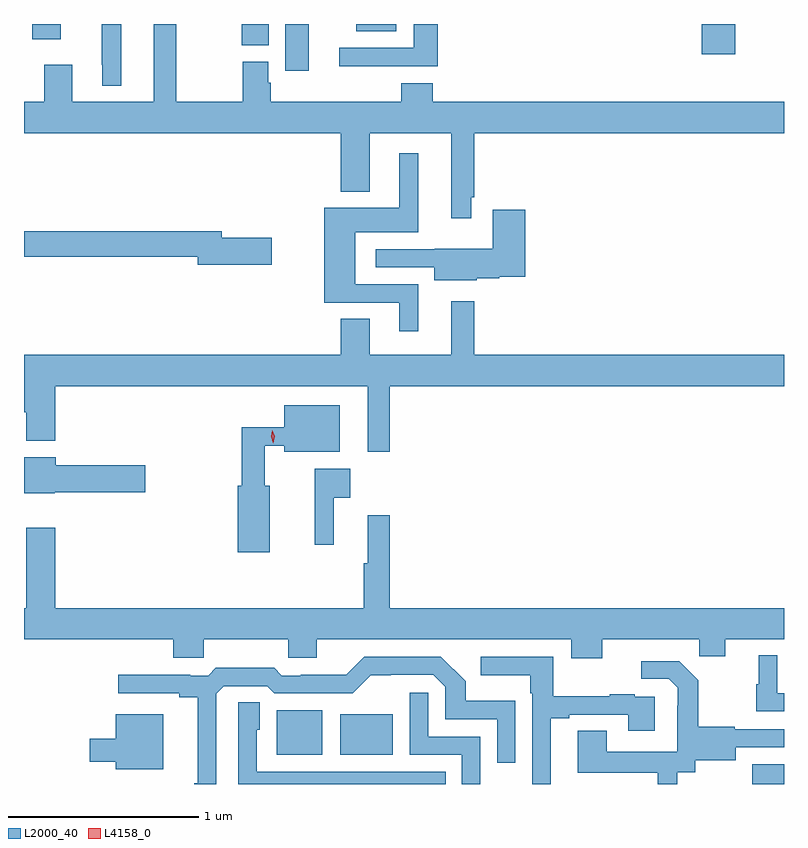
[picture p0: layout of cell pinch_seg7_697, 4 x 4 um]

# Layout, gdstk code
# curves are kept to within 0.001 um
import gdstk
lib = gdstk.Library(unit=1e-6, precision=1e-09)
def R(c, l, rs):  # rectangles x0, y0, x1, y1
    for r in rs: c.add(gdstk.rectangle(r[:2], r[2:], *l))
def P(c, l, *ps):  # polygons
    for p in ps: c.add(gdstk.Polygon(p, *l))
L2000_40 = (2000, 40)
L4158_0 = (4158, 0)

pinch_seg7_697 = lib.new_cell('pinch_seg7_697')
R(pinch_seg7_697, L2000_40, [(331.212,1017.17,331.378,1017.273), (328.709,1017.323,328.948,1017.559), (329.042,1017.323,329.32,1017.538), (328.754,1020.924,328.876,1021.17), (330.944,1021.011,331.122,1021.17), (328.525,1021.057,328.666,1021.17), (327.422,1021.089,327.571,1021.17), (329.126,1021.133,329.338,1021.17)])
P(pinch_seg7_697, L2000_40, [(329.731,1020.259),(329.749,1020.259),(329.749,1020.596),(331.378,1020.596),(331.378,1020.76),(329.528,1020.76),(329.528,1020.859),(329.363,1020.859),(329.363,1020.76),(328.676,1020.76),(328.676,1020.861),(328.663,1020.861),(328.663,1020.972),(328.528,1020.972),(328.528,1020.76),(328.179,1020.76),(328.179,1021.17),(328.061,1021.17),(328.061,1020.76),(327.631,1020.76),(327.631,1020.955),(327.484,1020.955),(327.484,1020.76),(327.378,1020.76),(327.378,1020.596),(329.045,1020.596),(329.045,1020.287),(329.197,1020.287),(329.197,1020.596),(329.627,1020.596),(329.627,1020.147),(329.731,1020.147)],
  [(329.555,1021.17),(329.429,1021.17),(329.429,1021.044),(329.037,1021.044),(329.037,1020.947),(329.555,1020.947)],
  [(327.889,1021.17),(327.787,1021.17),(327.787,1020.955),(327.791,1020.955),(327.791,1020.845),(327.889,1020.845)],
  [(329.452,1019.799),(329.122,1019.799),(329.122,1020.074),(329.452,1020.074),(329.452,1020.49),(329.354,1020.49),(329.354,1020.202),(328.958,1020.202),(328.958,1019.703),(329.354,1019.703),(329.354,1019.553),(329.452,1019.553)],
  [(329.76,1019.833),(329.88,1019.833),(329.88,1019.84),(330.017,1019.84),(330.017,1020.193),(329.846,1020.193),(329.846,1019.986),(329.541,1019.986),(329.541,1019.985),(329.229,1019.985),(329.229,1019.889),(329.537,1019.889),(329.537,1019.822),(329.76,1019.822)],
  [(328.681,1020.044),(328.42,1020.044),(328.42,1020.08),(327.378,1020.08),(327.378,1019.944),(328.292,1019.944),(328.292,1019.902),(328.681,1019.902)],
  [(329.627,1019.71),(329.627,1019.428),(329.197,1019.428),(329.197,1019.618),(329.045,1019.618),(329.045,1019.428),(327.378,1019.428),(327.378,1019.126),(327.389,1019.126),(327.389,1018.976),(327.542,1018.976),(327.542,1019.264),(329.186,1019.264),(329.186,1018.92),(329.303,1018.92),(329.303,1019.264),(331.378,1019.264),(331.378,1019.428),(329.749,1019.428),(329.749,1019.71)],
  [(328.672,1018.741),(328.646,1018.741),(328.646,1018.949),(328.748,1018.949),(328.748,1018.919),(329.041,1018.919),(329.041,1019.164),(328.748,1019.164),(328.748,1019.048),(328.525,1019.048),(328.525,1018.741),(328.502,1018.741),(328.502,1018.389),(328.672,1018.389)],
  [(327.54,1018.706),(328.015,1018.706),(328.015,1018.848),(327.544,1018.848),(327.544,1018.891),(327.378,1018.891),(327.378,1018.7),(327.54,1018.7)],
  [(329.009,1018.676),(329.095,1018.676),(329.095,1018.828),(328.909,1018.828),(328.909,1018.428),(329.009,1018.428)],
  [(330.421,1017.932),(330.931,1017.932),(330.931,1017.842),(331.069,1017.842),(331.069,1017.932),(331.378,1017.932),(331.378,1018.096),(329.303,1018.096),(329.303,1018.585),(329.186,1018.585),(329.186,1018.332),(329.167,1018.332),(329.167,1018.096),(327.542,1018.096),(327.542,1018.519),(327.389,1018.519),(327.389,1018.096),(327.378,1018.096),(327.378,1017.932),(328.163,1017.932),(328.163,1017.834),(328.323,1017.834),(328.323,1017.932),(328.768,1017.932),(328.768,1017.834),(328.918,1017.834),(328.918,1017.932),(330.257,1017.932),(330.257,1017.833),(330.421,1017.833)],
  [(331.378,1017.648),(331.342,1017.648),(331.342,1017.847),(331.244,1017.847),(331.244,1017.696),(331.233,1017.696),(331.233,1017.552),(331.378,1017.552)],
  [(328.389,1017.645),(328.428,1017.684),(328.659,1017.684),(328.695,1017.648),(329.109,1017.648),(329.204,1017.743),(329.532,1017.744),(329.595,1017.681),(329.595,1017.51),(329.868,1017.51),(329.868,1017.282),(329.964,1017.282),(329.964,1017.607),(329.703,1017.607),(329.703,1017.71),(329.572,1017.84),(329.169,1017.84),(329.075,1017.746),(328.834,1017.746),(328.834,1017.741),(328.734,1017.741),(328.695,1017.781),(328.387,1017.781),(328.347,1017.741),(328.253,1017.741),(328.253,1017.746),(327.873,1017.746),(327.873,1017.648),(328.196,1017.648),(328.196,1017.626),(328.292,1017.626),(328.292,1017.175),(328.273,1017.175),(328.273,1017.17),(328.389,1017.17)],
  [(330.151,1017.516),(330.247,1017.516),(330.247,1017.534),(330.557,1017.534),(330.557,1017.45),(330.697,1017.45),(330.697,1017.63),(330.593,1017.63),(330.593,1017.643),(330.461,1017.643),(330.461,1017.632),(330.163,1017.632),(330.163,1017.84),(329.781,1017.84),(329.781,1017.743),(330.042,1017.743),(330.042,1017.647),(330.054,1017.647),(330.054,1017.17),(330.151,1017.17)],
  [(330.817,1017.232),(330.912,1017.232),(330.912,1017.296),(331.123,1017.296),(331.123,1017.363),(331.378,1017.363),(331.378,1017.459),(331.119,1017.459),(331.119,1017.472),(330.927,1017.472),(330.927,1017.717),(330.827,1017.817),(330.627,1017.817),(330.627,1017.723),(330.771,1017.723),(330.818,1017.676),(330.818,1017.581),(330.816,1017.581),(330.816,1017.34),(330.445,1017.34),(330.445,1017.449),(330.293,1017.449),(330.293,1017.23),(330.713,1017.23),(330.713,1017.17),(330.817,1017.17)],
  [(329.778,1017.42),(329.505,1017.42),(329.505,1017.649),(329.409,1017.649),(329.409,1017.324),(329.682,1017.324),(329.682,1017.17),(329.778,1017.17)],
  [(329.597,1017.234),(328.602,1017.234),(328.602,1017.456),(328.618,1017.456),(328.618,1017.599),(328.506,1017.599),(328.506,1017.17),(329.597,1017.17)],
  [(328.111,1017.538),(327.86,1017.538),(327.86,1017.409),(327.723,1017.409),(327.723,1017.287),(327.86,1017.287),(327.86,1017.248),(328.111,1017.248)])
P(pinch_seg7_697, L4158_0, [(328.69,1018.963),(328.69,1018.963),(328.678,1018.997),(328.685,1019.033),(328.685,1019.033),(328.685,1019.033),(328.697,1018.999),(328.69,1018.963)])

lib.write_gds('pinch_seg7_697.gds')
